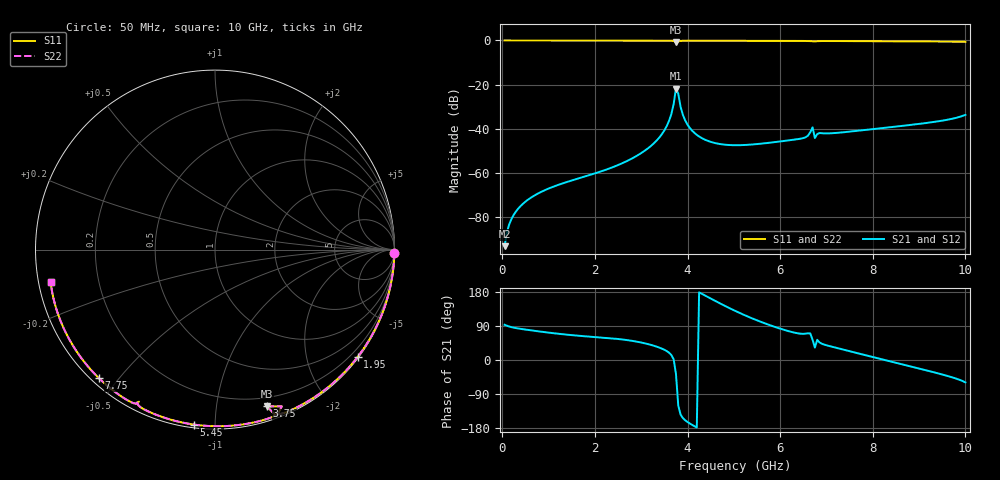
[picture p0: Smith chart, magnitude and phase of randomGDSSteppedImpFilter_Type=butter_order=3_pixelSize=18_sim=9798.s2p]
! freq	dB(S11)	phase(S11)	dB(S12)	phase(S12)
!  dB(S21)	phase(S21)	dB(S22)	phase(S22)
!S-par simulation data
#  GHz  S  DB  R 50
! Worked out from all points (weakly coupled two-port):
!   200 points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, 50 MHz to 10 GHz, reference 50 ohm
!   highest |S21| = -21.79 dB at 3.75 GHz (marker M1); lowest = -93.3 dB at 50 MHz (marker M2)
!   lowest |S11| = -0.7 dB at 3.75 GHz (marker M3), VSWR 24.01, Z = 6.05 - j68.9 ohm
!   |S11| at or under -10 dB: nowhere
!   |S22| runs from -0.7 to 0.0 dB; largest |S21 - S12| = 0
!   S11 on the Smith chart (normalised r, x): 50 MHz: open; 1.95 GHz: 0.03, -2.99; 3.75 GHz: 0.12, -1.38; 5.45 GHz: 0.02, -0.89; 7.75 GHz: 0.02, -0.44; 10 GHz: 0.03, -0.10
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0.05  -0.00 -1.0  -93.25 93.0  -93.25 93.0  -0.00 -1.0
0.2  -0.01 -3.9  -80.84 86.6  -80.84 86.6  -0.01 -3.9
0.8  -0.02 -15.4  -69.06 75.3  -69.06 75.3  -0.02 -15.4
1.75  -0.04 -33.3  -61.88 63.0  -61.88 63.0  -0.04 -33.3
1.95  -0.05 -37.0  -60.60 61.1  -60.60 61.1  -0.05 -37.0
2.85  -0.07 -53.4  -52.95 49.6  -52.95 49.6  -0.07 -53.4
3.4  -0.09 -63.3  -43.75 32.3  -43.75 32.3  -0.09 -63.3
3.65  -0.13 -68.5  -33.40 13.3  -33.40 13.3  -0.13 -68.5
3.75  -0.72 -71.7  -21.79 -36.7  -21.79 -36.7  -0.72 -71.7
3.8  -0.45 -66.9  -24.13 -120.2  -24.13 -120.2  -0.45 -66.9
3.95  -0.12 -71.5  -36.30 -159.2  -36.30 -159.2  -0.12 -71.5
4.15  -0.11 -75.3  -41.92 -174.7  -41.92 -174.7  -0.11 -75.3
4.5  -0.12 -81.3  -45.98 162.2  -45.98 162.2  -0.12 -81.3
5.05  -0.14 -90.4  -47.49 128.4  -47.49 128.4  -0.14 -90.4
5.45  -0.16 -96.8  -47.07 107.1  -47.07 107.1  -0.16 -96.8
6.5  -0.22 -113.5  -44.25 69.0  -44.25 69.0  -0.23 -113.5
6.7  -0.39 -117.0  -39.39 53.6  -39.39 53.6  -0.40 -116.9
6.75  -0.47 -116.6  -44.24 32.9  -44.24 32.9  -0.46 -116.5
6.85  -0.28 -117.9  -41.98 46.5  -41.98 46.5  -0.28 -117.9
7.75  -0.31 -132.0  -40.77 15.5  -40.77 15.5  -0.31 -132.1
8.35  -0.36 -141.2  -39.40 -2.8  -39.40 -2.8  -0.36 -141.2
10  -0.60 -168.7  -33.74 -59.1  -33.74 -59.1  -0.60 -168.8
